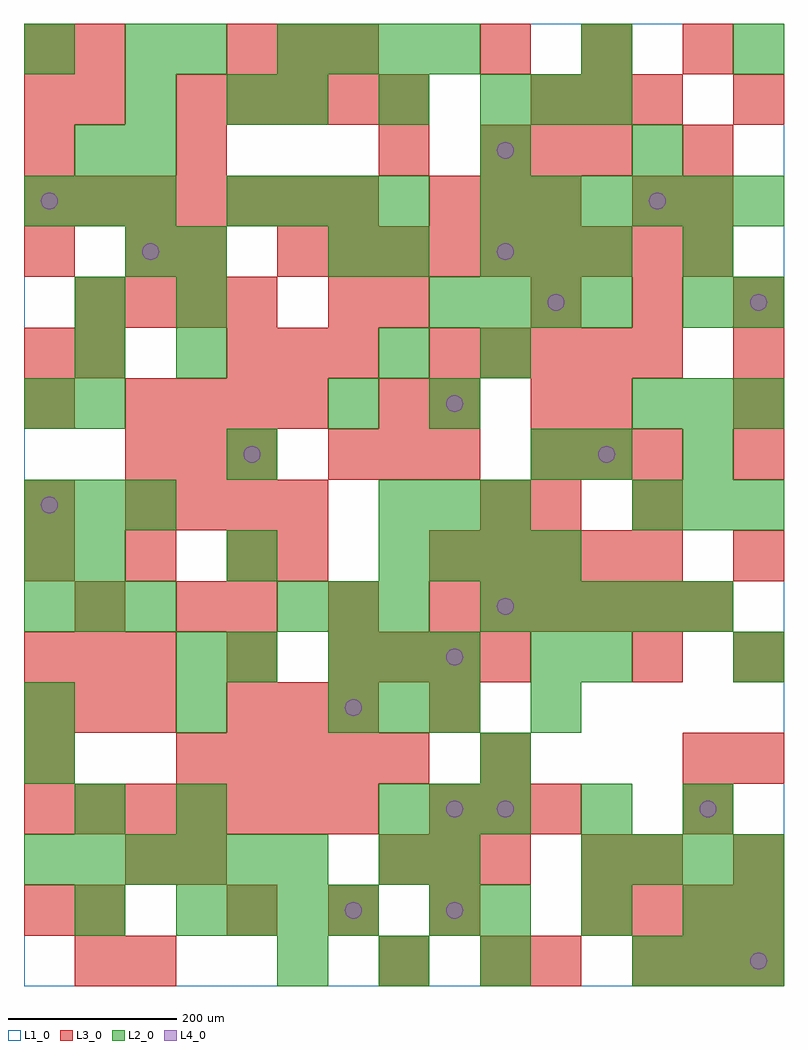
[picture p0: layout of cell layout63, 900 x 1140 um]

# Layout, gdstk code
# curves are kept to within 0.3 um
import gdstk
lib = gdstk.Library(unit=1e-6, precision=1e-09)
def R(c, l, rs):  # rectangles x0, y0, x1, y1
    for r in rs: c.add(gdstk.rectangle(r[:2], r[2:], *l))
def A(c, l, x, y, w, h, nx, ny, dx, dy):  # array of equal rectangles
    R(c, l, [(x+i*dx, y+j*dy, x+i*dx+w, y+j*dy+h) for i in range(nx) for j in range(ny)])
def P(c, l, *ps):  # polygons
    for p in ps: c.add(gdstk.Polygon(p, *l))
L1_0 = (1, 0)
L2_0 = (2, 0)
L3_0 = (3, 0)
L4_0 = (4, 0)

layout63 = lib.new_cell('layout63')
R(layout63, L1_0, [(0,0,900,1140)])
A(layout63, L2_0, 300, 0, 60, 60, 3, 2, 120, 1020)
A(layout63, L2_0, 720, 0, 60, 60, 3, 2, 60, 540)
A(layout63, L2_0, 180, 60, 60, 60, 4, 1, 60, 0)
A(layout63, L2_0, 540, 60, 60, 60, 3, 1, 120, 0)
A(layout63, L2_0, 0, 120, 60, 60, 6, 1, 60, 0)
A(layout63, L2_0, 660, 120, 60, 60, 4, 1, 60, 0)
A(layout63, L2_0, 420, 180, 60, 60, 3, 2, 60, 360)
A(layout63, L2_0, 0, 300, 60, 60, 3, 1, 180, 0)
A(layout63, L2_0, 360, 360, 60, 60, 3, 1, 60, 0)
A(layout63, L2_0, 0, 420, 60, 60, 3, 2, 60, 120)
A(layout63, L2_0, 300, 420, 60, 60, 3, 1, 60, 0)
A(layout63, L2_0, 540, 420, 60, 60, 5, 1, 60, 0)
A(layout63, L2_0, 60, 480, 60, 60, 3, 1, 180, 0)
A(layout63, L2_0, 480, 480, 60, 60, 3, 1, 60, 0)
A(layout63, L2_0, 60, 660, 60, 60, 1, 3, 0, 60)
A(layout63, L2_0, 720, 660, 60, 60, 3, 1, 60, 0)
A(layout63, L2_0, 180, 720, 60, 60, 1, 3, 0, 60)
A(layout63, L2_0, 480, 780, 60, 60, 4, 1, 60, 0)
A(layout63, L2_0, 540, 840, 60, 60, 3, 1, 60, 0)
A(layout63, L2_0, 0, 900, 60, 60, 3, 1, 60, 0)
A(layout63, L2_0, 240, 900, 60, 60, 4, 1, 60, 0)
A(layout63, L2_0, 540, 900, 60, 60, 6, 1, 60, 0)
A(layout63, L2_0, 120, 960, 60, 60, 1, 3, 0, 60)
A(layout63, L2_0, 300, 1080, 60, 60, 4, 1, 60, 0)
R(layout63, L2_0, [(60,60,120,120), (480,60,540,120), (840,60,900,120), (420,120,480,180), (480,120,540,180), (60,180,120,240), (180,180,240,240), (660,180,720,240), (780,180,840,240), (0,240,60,300), (540,240,600,300), (420,300,480,360), (480,300,540,360), (600,300,660,360), (180,360,240,420), (240,360,300,420), (600,360,660,420), (660,360,720,420), (840,360,900,420), (0,480,60,540), (240,600,300,660), (600,600,660,660), (660,600,720,660), (780,600,840,660), (0,660,60,720), (360,660,420,720), (480,660,540,720), (420,720,480,780), (540,720,600,780), (780,780,840,840), (840,780,900,840), (120,840,180,900), (360,840,420,900), (420,840,480,900), (780,840,840,900), (60,960,120,1020), (540,960,600,1020), (720,960,780,1020), (240,1020,300,1080), (600,1020,660,1080), (660,1020,720,1080), (0,1080,60,1140), (180,1080,240,1140), (660,1080,720,1140), (840,1080,900,1140)])
A(layout63, L3_0, 720, 0, 60, 60, 3, 1, 60, 0)
A(layout63, L3_0, 240, 60, 60, 60, 3, 2, 120, 360)
A(layout63, L3_0, 660, 60, 60, 60, 4, 1, 60, 0)
A(layout63, L3_0, 420, 120, 60, 60, 3, 1, 60, 0)
A(layout63, L3_0, 840, 120, 60, 60, 1, 5, 0, 120)
A(layout63, L3_0, 0, 180, 60, 60, 7, 2, 60, 720)
A(layout63, L3_0, 480, 180, 60, 60, 3, 2, 60, 720)
A(layout63, L3_0, 180, 240, 60, 60, 5, 2, 60, 780)
A(layout63, L3_0, 0, 300, 60, 60, 3, 2, 60, 60)
A(layout63, L3_0, 240, 300, 60, 60, 3, 2, 60, 420)
A(layout63, L3_0, 360, 360, 60, 60, 4, 1, 60, 0)
A(layout63, L3_0, 60, 420, 60, 60, 1, 3, 0, 300)
A(layout63, L3_0, 540, 420, 60, 60, 5, 1, 60, 0)
A(layout63, L3_0, 0, 480, 60, 60, 3, 1, 120, 0)
A(layout63, L3_0, 480, 480, 60, 60, 5, 2, 60, 240)
A(layout63, L3_0, 120, 540, 60, 60, 4, 2, 60, 120)
A(layout63, L3_0, 120, 600, 60, 60, 3, 1, 60, 0)
A(layout63, L3_0, 360, 600, 60, 60, 3, 1, 60, 0)
A(layout63, L3_0, 600, 600, 60, 60, 3, 2, 60, 420)
A(layout63, L3_0, 0, 720, 60, 60, 1, 3, 0, 120)
A(layout63, L3_0, 60, 780, 60, 60, 4, 1, 60, 0)
A(layout63, L3_0, 600, 780, 60, 60, 3, 1, 120, 0)
A(layout63, L3_0, 300, 840, 60, 60, 9, 1, 60, 0)
A(layout63, L3_0, 540, 960, 60, 60, 3, 1, 60, 0)
A(layout63, L3_0, 240, 1080, 60, 60, 3, 1, 60, 0)
A(layout63, L3_0, 540, 1080, 60, 60, 3, 1, 120, 0)
R(layout63, L3_0, [(60,0,120,60), (120,0,180,60), (420,0,480,60), (540,0,600,60), (600,0,660,60), (0,60,60,120), (60,60,120,120), (120,120,180,180), (180,120,240,180), (660,120,720,180), (720,120,780,180), (780,180,840,240), (0,240,60,300), (540,240,600,300), (780,240,840,300), (480,300,540,360), (240,360,300,420), (720,360,780,420), (180,420,240,480), (300,480,360,540), (0,540,60,600), (540,540,600,600), (600,540,660,600), (720,540,780,600), (0,660,60,720), (420,660,480,720), (480,660,540,720), (600,660,660,720), (660,660,720,720), (840,660,900,720), (840,720,900,780), (360,780,420,840), (420,780,480,840), (120,840,180,900), (180,840,240,900), (720,900,780,960), (780,900,840,960), (180,960,240,1020), (420,960,480,1020), (780,960,840,1020), (0,1020,60,1080), (840,1020,900,1080), (0,1080,60,1140), (60,1080,120,1140)])
P(layout63, L4_0, [(40,570),(39.239,573.827),(37.071,577.071),(33.827,579.239),(30,580),(26.173,579.239),(22.929,577.071),(20.761,573.827),(20,570),(20.761,566.173),(22.929,562.929),(26.173,560.761),(30,560),(33.827,560.761),(37.071,562.929),(39.239,566.173)],
  [(40,930),(39.239,933.827),(37.071,937.071),(33.827,939.239),(30,940),(26.173,939.239),(22.929,937.071),(20.761,933.827),(20,930),(20.761,926.173),(22.929,922.929),(26.173,920.761),(30,920),(33.827,920.761),(37.071,922.929),(39.239,926.173)],
  [(160,870),(159.239,873.827),(157.071,877.071),(153.827,879.239),(150,880),(146.173,879.239),(142.929,877.071),(140.761,873.827),(140,870),(140.761,866.173),(142.929,862.929),(146.173,860.761),(150,860),(153.827,860.761),(157.071,862.929),(159.239,866.173)],
  [(280,630),(279.239,633.827),(277.071,637.071),(273.827,639.239),(270,640),(266.173,639.239),(262.929,637.071),(260.761,633.827),(260,630),(260.761,626.173),(262.929,622.929),(266.173,620.761),(270,620),(273.827,620.761),(277.071,622.929),(279.239,626.173)],
  [(400,90),(399.239,93.827),(397.071,97.071),(393.827,99.239),(390,100),(386.173,99.239),(382.929,97.071),(380.761,93.827),(380,90),(380.761,86.173),(382.929,82.929),(386.173,80.761),(390,80),(393.827,80.761),(397.071,82.929),(399.239,86.173)],
  [(400,330),(399.239,333.827),(397.071,337.071),(393.827,339.239),(390,340),(386.173,339.239),(382.929,337.071),(380.761,333.827),(380,330),(380.761,326.173),(382.929,322.929),(386.173,320.761),(390,320),(393.827,320.761),(397.071,322.929),(399.239,326.173)],
  [(520,90),(519.239,93.827),(517.071,97.071),(513.827,99.239),(510,100),(506.173,99.239),(502.929,97.071),(500.761,93.827),(500,90),(500.761,86.173),(502.929,82.929),(506.173,80.761),(510,80),(513.827,80.761),(517.071,82.929),(519.239,86.173)],
  [(520,210),(519.239,213.827),(517.071,217.071),(513.827,219.239),(510,220),(506.173,219.239),(502.929,217.071),(500.761,213.827),(500,210),(500.761,206.173),(502.929,202.929),(506.173,200.761),(510,200),(513.827,200.761),(517.071,202.929),(519.239,206.173)],
  [(520,390),(519.239,393.827),(517.071,397.071),(513.827,399.239),(510,400),(506.173,399.239),(502.929,397.071),(500.761,393.827),(500,390),(500.761,386.173),(502.929,382.929),(506.173,380.761),(510,380),(513.827,380.761),(517.071,382.929),(519.239,386.173)],
  [(520,690),(519.239,693.827),(517.071,697.071),(513.827,699.239),(510,700),(506.173,699.239),(502.929,697.071),(500.761,693.827),(500,690),(500.761,686.173),(502.929,682.929),(506.173,680.761),(510,680),(513.827,680.761),(517.071,682.929),(519.239,686.173)],
  [(580,210),(579.239,213.827),(577.071,217.071),(573.827,219.239),(570,220),(566.173,219.239),(562.929,217.071),(560.761,213.827),(560,210),(560.761,206.173),(562.929,202.929),(566.173,200.761),(570,200),(573.827,200.761),(577.071,202.929),(579.239,206.173)],
  [(580,450),(579.239,453.827),(577.071,457.071),(573.827,459.239),(570,460),(566.173,459.239),(562.929,457.071),(560.761,453.827),(560,450),(560.761,446.173),(562.929,442.929),(566.173,440.761),(570,440),(573.827,440.761),(577.071,442.929),(579.239,446.173)],
  [(580,870),(579.239,873.827),(577.071,877.071),(573.827,879.239),(570,880),(566.173,879.239),(562.929,877.071),(560.761,873.827),(560,870),(560.761,866.173),(562.929,862.929),(566.173,860.761),(570,860),(573.827,860.761),(577.071,862.929),(579.239,866.173)],
  [(580,990),(579.239,993.827),(577.071,997.071),(573.827,999.239),(570,1000),(566.173,999.239),(562.929,997.071),(560.761,993.827),(560,990),(560.761,986.173),(562.929,982.929),(566.173,980.761),(570,980),(573.827,980.761),(577.071,982.929),(579.239,986.173)],
  [(640,810),(639.239,813.827),(637.071,817.071),(633.827,819.239),(630,820),(626.173,819.239),(622.929,817.071),(620.761,813.827),(620,810),(620.761,806.173),(622.929,802.929),(626.173,800.761),(630,800),(633.827,800.761),(637.071,802.929),(639.239,806.173)],
  [(700,630),(699.239,633.827),(697.071,637.071),(693.827,639.239),(690,640),(686.173,639.239),(682.929,637.071),(680.761,633.827),(680,630),(680.761,626.173),(682.929,622.929),(686.173,620.761),(690,620),(693.827,620.761),(697.071,622.929),(699.239,626.173)],
  [(760,930),(759.239,933.827),(757.071,937.071),(753.827,939.239),(750,940),(746.173,939.239),(742.929,937.071),(740.761,933.827),(740,930),(740.761,926.173),(742.929,922.929),(746.173,920.761),(750,920),(753.827,920.761),(757.071,922.929),(759.239,926.173)],
  [(820,210),(819.239,213.827),(817.071,217.071),(813.827,219.239),(810,220),(806.173,219.239),(802.929,217.071),(800.761,213.827),(800,210),(800.761,206.173),(802.929,202.929),(806.173,200.761),(810,200),(813.827,200.761),(817.071,202.929),(819.239,206.173)],
  [(880,30),(879.239,33.827),(877.071,37.071),(873.827,39.239),(870,40),(866.173,39.239),(862.929,37.071),(860.761,33.827),(860,30),(860.761,26.173),(862.929,22.929),(866.173,20.761),(870,20),(873.827,20.761),(877.071,22.929),(879.239,26.173)],
  [(880,810),(879.239,813.827),(877.071,817.071),(873.827,819.239),(870,820),(866.173,819.239),(862.929,817.071),(860.761,813.827),(860,810),(860.761,806.173),(862.929,802.929),(866.173,800.761),(870,800),(873.827,800.761),(877.071,802.929),(879.239,806.173)])

lib.write_gds('layout63.gds')
